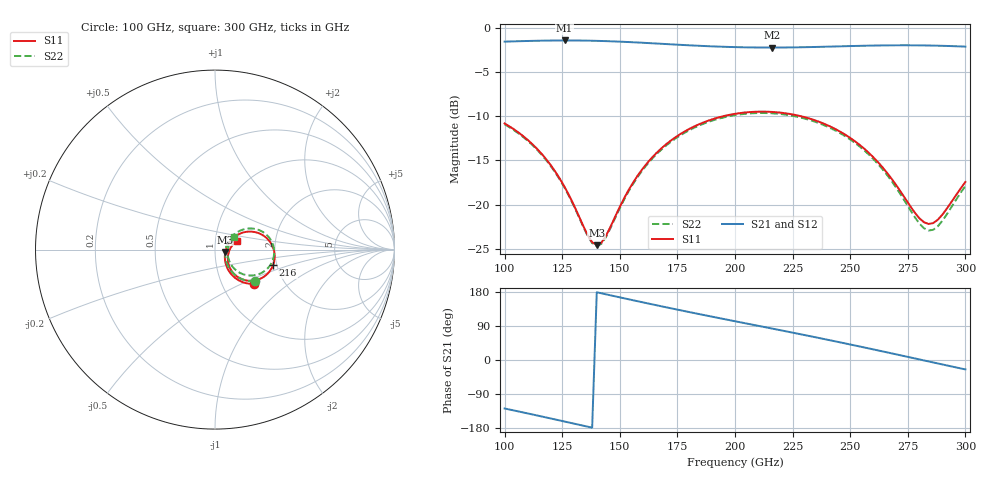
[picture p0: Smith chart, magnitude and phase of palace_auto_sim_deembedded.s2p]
! Created with skrf 1.11.0 (http://scikit-rf.org).
# GHz S DB R 50.0
!freq dBS11 angS11 dBS21 angS21 dBS12 angS12 dBS22 angS22
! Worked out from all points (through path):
!   101 points, 100 GHz to 300 GHz, reference 50 ohm
!   highest |S21| = -1.42 dB at 126 GHz (marker M1); lowest = -2.2 dB at 216 GHz (marker M2)
!   group delay of S21, straight-line fit = 3.52 ps
!   lowest |S11| = -24.6 dB at 140 GHz (marker M3), VSWR 1.13, Z = 56.1 - j1.41 ohm
!   |S11| at or under -10 dB: start of sweep to 194.7 GHz; 228.8 GHz to end of sweep
!   |S22| runs from -24.7 to -9.6 dB; largest |S21 - S12| = 9.1e-14
!   S11 on the Smith chart (normalised r, x): 100 GHz: 1.41, -0.59; 216 GHz: 1.91, -0.37; 300 GHz: 1.28, +0.13
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100  -10.81 -41.5  -1.55 -127.9  -1.55 -127.9  -10.91 -38.3
114  -13.66 -53.3  -1.45 -146.3  -1.45 -146.3  -13.76 -49.6
120  -15.52 -56.4  -1.43 -154.3  -1.43 -154.3  -15.62 -52.5
126  -17.97 -56.5  -1.42 -162.4  -1.42 -162.4  -18.07 -52.4
134  -22.33 -43.7  -1.43 -173.2  -1.43 -173.2  -22.42 -39.4
138  -24.25 -24.9  -1.45 -178.6  -1.45 -178.6  -24.35 -20.6
140  -24.58 -12.3  -1.46 178.7  -1.46 178.7  -24.70 -7.9
144  -23.53 11.3  -1.49 173.3  -1.49 173.3  -23.67 15.8
152  -19.21 31.3  -1.57 162.7  -1.57 162.7  -19.36 36.3
158  -16.62 33.3  -1.65 154.7  -1.65 154.7  -16.76 38.4
168  -13.64 28.7  -1.79 141.8  -1.79 141.8  -13.78 34.3
184  -10.94 15.5  -2.01 121.8  -2.01 121.8  -11.09 21.5
200  -9.72 0.4  -2.17 102.3  -2.17 102.3  -9.87 6.9
216  -9.50 -15.1  -2.22 83.1  -2.22 83.1  -9.66 -8.1
234  -10.39 -32.1  -2.16 61.1  -2.16 61.1  -10.55 -24.7
252  -12.81 -46.9  -2.04 38.4  -2.04 38.4  -12.99 -39.3
260  -14.62 -51.2  -1.99 28.0  -1.99 28.0  -14.82 -43.7
268  -17.08 -51.6  -1.97 17.5  -1.97 17.5  -17.33 -44.3
280  -21.53 -31.5  -1.97 1.6  -1.97 1.6  -22.12 -24.2
284  -22.18 -16.0  -1.99 -3.8  -1.99 -3.8  -22.92 -7.5
290  -21.13 6.4  -2.02 -11.7  -2.02 -11.7  -21.83 17.0
300  -17.44 21.8  -2.11 -24.9  -2.11 -24.9  -17.88 33.4
